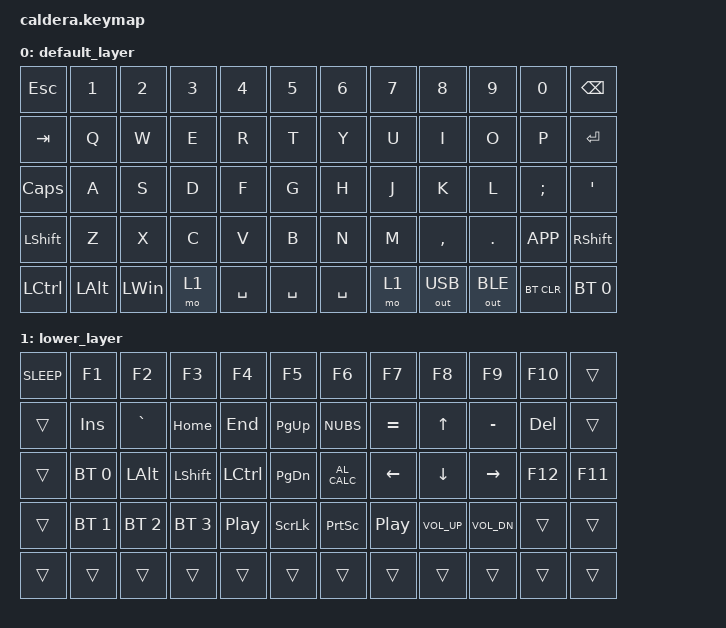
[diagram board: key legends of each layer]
#include <behaviors.dtsi>
#include <dt-bindings/zmk/bt.h>
#include <dt-bindings/zmk/keys.h>
#include <dt-bindings/zmk/outputs.h>

/ {
    keymap {
        compatible = "zmk,keymap";

        default_layer {
            // -----------------------------------------------------------------------------------------
            // |  ESC |  1  |  2  |  3  |  4  |  5  |   |  6  |  7   |  8  |  9  |  0  | BSPC |
            // |  TAB |  Q  |  W  |  E  |  R  |  T  |   |  Y  |  U   |  I  |  O  |  P  | ENT  |
            // | CAPS |  A  |  S  |  D  |  F  |  G  |   |  H  |  J   |  K  |  L  |  ;  |  '   |  
            // |LSHFT |  Z  |  X  |  C  |  V  |  B  |   |  N  |  M   |  ,  |  .  |  /  |RSHFT |
            // | LCTRL|LATL | LWIN| LOW | SPC | SPC |   | SPC | LOW  |RCTRL|LBKT |RBKT |K_APP |

            bindings = <
&kp ESC    &kp N1    &kp N2    &kp N3  &kp N4     &kp N5       &kp N6     &kp N7  &kp N8        &kp N9        &kp N0         &kp BSPC
&kp TAB    &kp Q     &kp W     &kp E   &kp R      &kp T        &kp Y      &kp U   &kp I         &kp O         &kp P          &kp ENTER
&kp CAPS   &kp A     &kp S     &kp D   &kp F      &kp G        &kp H      &kp J   &kp K         &kp L         &kp SEMICOLON  &kp APOS
&kp LSHFT  &kp Z     &kp X     &kp C   &kp V      &kp B        &kp N      &kp M   &kp COMMA     &kp DOT       &kp K_APP      &kp RSHFT
&kp LCTRL  &kp LALT  &kp LWIN  &mo 1   &kp SPACE  &kp SPACE    &kp SPACE  &mo 1   &out OUT_USB  &out OUT_BLE  &bt BT_CLR     &bt BT_SEL 0
            >;
        };

        lower_layer {
            // -----------------------------------------------------------------------------------------
            // |      |BT_SEL 0|BT_SEL 1|BT_SEL 2|BT_SEL 3|BT_SEL 4|   |     |      |     |        |        |BT_CLR|
            // |      |        |        | HOME   |  END   |        |   |     |      |  UP |        |        |      |
            // |      |        |        |LSHFT   |LCTRL   |        |   |     | LEFT |DOWN |RIGHT   |        |      |
            // |      |        |        |        |        |        |   |     |      |K_PP |K_VOL_UP|K_VOL_DN|      |
            // |      |        |        |        |        |        |   |     |      |     |        |        |      |

            bindings = <
&kp C_SLEEP  &kp F1        &kp F2        &kp F3        &kp F4     &kp F5       &kp F6         &kp F7     &kp F8        &kp F9        &kp F10  &trans
&trans       &kp INS       &kp GRAVE     &kp HOME      &kp END    &kp PG_UP    &kp NUBS       &kp EQUAL  &kp UP        &kp MINUS     &kp DEL  &trans
&trans       &bt BT_SEL 0  &kp LALT      &kp LSHFT     &kp LCTRL  &kp PG_DN    &kp C_AL_CALC  &kp LEFT   &kp DOWN      &kp RIGHT     &kp F12  &kp F11
&trans       &bt BT_SEL 1  &bt BT_SEL 2  &bt BT_SEL 3  &kp C_PP   &kp SLCK     &kp PSCRN      &kp C_PP   &kp C_VOL_UP  &kp C_VOL_DN  &trans   &trans
&trans       &trans        &trans        &trans        &trans     &trans       &trans         &trans     &trans        &trans        &trans   &trans
            >;
        };
    };
};
